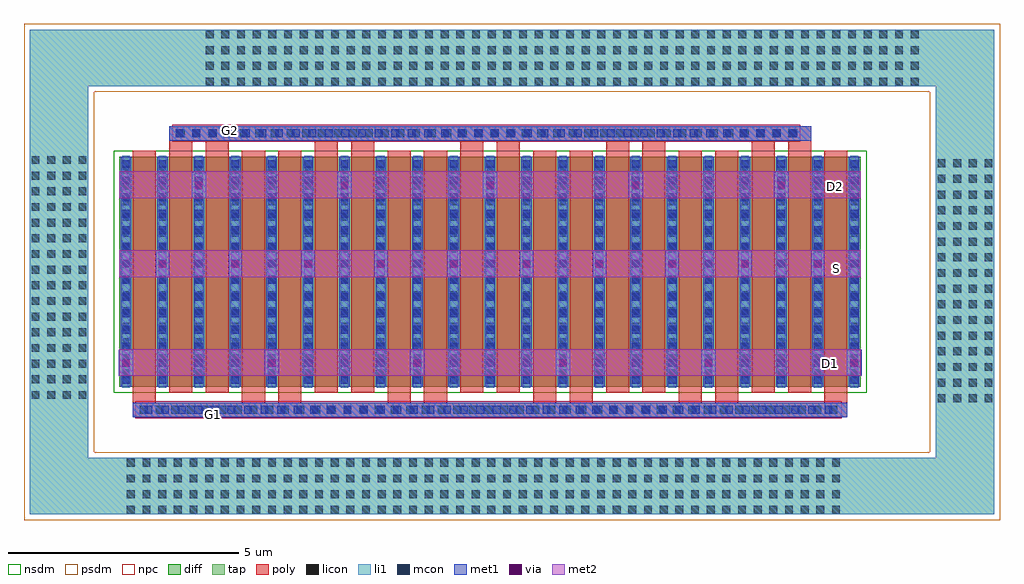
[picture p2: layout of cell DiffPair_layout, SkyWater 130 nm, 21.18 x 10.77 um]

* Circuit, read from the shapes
.subckt DiffPair_layout D1 D2 G1 G2 S
XM1 S G1 D1 VSUBS sky130_fd_pr__nfet_01v8 w=5 l=0.5 m=10
XM2 D2 G2 S VSUBS sky130_fd_pr__nfet_01v8 w=5 l=0.5 m=10
.ends

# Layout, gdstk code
import gdstk
lib = gdstk.Library(unit=1e-6, precision=1e-09)
def R(c, l, rs):  # rectangles x0, y0, x1, y1
    for r in rs: c.add(gdstk.rectangle(r[:2], r[2:], *l))
def A(c, l, x, y, w, h, nx, ny, dx, dy):  # array of equal rectangles
    R(c, l, [(x+i*dx, y+j*dy, x+i*dx+w, y+j*dy+h) for i in range(nx) for j in range(ny)])
diff = (65, 20)
tap = (65, 44)
poly = (66, 20)
licon = (66, 44)
li1 = (67, 20)
mcon = (67, 44)
met1 = (68, 20)
via = (68, 44)
met2 = (69, 20)
nsdm = (93, 44)
psdm = (94, 20)
npc = (95, 20)

sky130_fd_pr__nfet_01v8_ = lib.new_cell('sky130_fd_pr__nfet_01v8_6YBK2C')
R(sky130_fd_pr__nfet_01v8_, diff, [(-0.54,-2.5,0.54,2.5)])
R(sky130_fd_pr__nfet_01v8_, poly, [(-0.25,-2.63,0.25,2.63)])
A(sky130_fd_pr__nfet_01v8_, licon, -0.48, -2.295, 0.17, 0.17, 1, 14, 0, 0.34)
A(sky130_fd_pr__nfet_01v8_, licon, 0.31, -2.295, 0.17, 0.17, 1, 14, 0, 0.34)
R(sky130_fd_pr__nfet_01v8_, li1, [(-0.48,-2.52,-0.31,2.52), (0.31,-2.52,0.48,2.52)])
A(sky130_fd_pr__nfet_01v8_, mcon, -0.48, -2.425, 0.17, 0.17, 1, 14, 0, 0.36)
A(sky130_fd_pr__nfet_01v8_, mcon, 0.31, -2.425, 0.17, 0.17, 1, 14, 0, 0.36)
R(sky130_fd_pr__nfet_01v8_, met1, [(-0.51,-2.5,-0.28,2.5), (0.28,-2.5,0.51,2.5)])
R(sky130_fd_pr__nfet_01v8_, nsdm, [(-0.665,-2.625,0.665,2.625)])

diffpair_layout = lib.new_cell('DiffPair_layout')
R(diffpair_layout, tap, [(-1.945,-2.635,18.985,-1.41), (-1.945,-1.41,-0.675,6.66), (17.715,-1.41,18.985,6.66), (-1.945,6.66,18.985,7.885)])
R(diffpair_layout, poly, [(0.29,-0.53,15.8,-0.21), (0.29,-0.21,0.79,0), (2.66,-0.21,3.16,0), (3.45,-0.21,3.95,0), (5.82,-0.21,6.32,0), (6.61,-0.21,7.11,0), (8.98,-0.21,9.48,0), (9.77,-0.21,10.27,0), (12.14,-0.21,12.64,0), (12.93,-0.21,13.43,0), (15.3,-0.21,15.8,0), (1.08,5.26,1.58,5.47), (1.87,5.26,2.37,5.47), (4.24,5.26,4.74,5.47), (5.03,5.26,5.53,5.47), (7.4,5.26,7.9,5.47), (8.19,5.26,8.69,5.47), (10.56,5.26,11.06,5.47), (11.35,5.26,11.85,5.47), (13.72,5.26,14.22,5.47), (14.51,5.26,15.01,5.47), (1.08,5.47,15.01,5.79)])
A(diffpair_layout, licon, 0.165, -2.62, 0.17, 0.17, 46, 4, 0.34, 0.34)
A(diffpair_layout, licon, 0.445, -0.45, 0.17, 0.17, 45, 1, 0.34, 0)
A(diffpair_layout, licon, 17.755, -0.2, 0.17, 0.17, 4, 16, 0.34, 0.34)
A(diffpair_layout, licon, -1.905, -0.13, 0.17, 0.17, 4, 16, 0.34, 0.34)
A(diffpair_layout, licon, 1.25, 5.55, 0.17, 0.17, 40, 1, 0.34, 0)
A(diffpair_layout, licon, 1.875, 6.675, 0.17, 0.17, 46, 4, 0.34, 0.34)
R(diffpair_layout, li1, [(-1.945,-2.635,18.985,-1.41), (-1.945,-1.41,-0.675,6.66), (17.715,-1.41,18.985,6.66), (0.29,-0.53,15.8,-0.21), (1.08,5.47,15.01,5.79), (-1.945,6.66,18.985,7.885)])
A(diffpair_layout, mcon, 0.545, -0.45, 0.17, 0.17, 42, 1, 0.36, 0)
A(diffpair_layout, mcon, 1.22, 5.55, 0.17, 0.17, 38, 1, 0.36, 0)
A(diffpair_layout, met1, -0.015, 0.37, 0.32, 0.57, 6, 1, 3.16, 0)
A(diffpair_layout, met1, 0.79, 2.515, 0.29, 0.58, 10, 1, 1.58, 0)
A(diffpair_layout, met1, 1.565, 4.23, 0.32, 0.565, 5, 1, 3.16, 0)
R(diffpair_layout, met1, [(0.29,-0.53,15.8,-0.21), (1.08,5.47,15.01,5.79)])
A(diffpair_layout, via, 0.07, 0.575, 0.15, 0.15, 6, 1, 3.16, 0)
A(diffpair_layout, via, 0.86, 2.72, 0.15, 0.15, 10, 1, 1.58, 0)
A(diffpair_layout, via, 1.65, 4.435, 0.15, 0.15, 5, 1, 3.16, 0)
R(diffpair_layout, met2, [(0,0.37,16.09,0.95), (0,2.515,16.09,3.095), (0,4.23,16.09,4.81)])
R(diffpair_layout, psdm, [(-2.07,-2.76,19.11,-1.285), (-2.07,-1.285,-0.55,6.535), (17.59,-1.285,19.11,6.535), (-2.07,6.535,19.11,8.01)])
R(diffpair_layout, npc, [(0.345,-0.55,15.675,-0.18), (1.15,5.45,14.78,5.82)])
diffpair_layout.add(gdstk.Reference(sky130_fd_pr__nfet_01v8_, (0.54,2.63)))
diffpair_layout.add(gdstk.Reference(sky130_fd_pr__nfet_01v8_, (1.33,2.63)))
diffpair_layout.add(gdstk.Reference(sky130_fd_pr__nfet_01v8_, (2.12,2.63)))
diffpair_layout.add(gdstk.Reference(sky130_fd_pr__nfet_01v8_, (2.91,2.63)))
diffpair_layout.add(gdstk.Reference(sky130_fd_pr__nfet_01v8_, (3.7,2.63)))
diffpair_layout.add(gdstk.Reference(sky130_fd_pr__nfet_01v8_, (4.49,2.63)))
diffpair_layout.add(gdstk.Reference(sky130_fd_pr__nfet_01v8_, (5.28,2.63)))
diffpair_layout.add(gdstk.Reference(sky130_fd_pr__nfet_01v8_, (6.07,2.63)))
diffpair_layout.add(gdstk.Reference(sky130_fd_pr__nfet_01v8_, (6.86,2.63)))
diffpair_layout.add(gdstk.Reference(sky130_fd_pr__nfet_01v8_, (7.65,2.63)))
diffpair_layout.add(gdstk.Reference(sky130_fd_pr__nfet_01v8_, (8.44,2.63)))
diffpair_layout.add(gdstk.Reference(sky130_fd_pr__nfet_01v8_, (9.23,2.63)))
diffpair_layout.add(gdstk.Reference(sky130_fd_pr__nfet_01v8_, (10.02,2.63)))
diffpair_layout.add(gdstk.Reference(sky130_fd_pr__nfet_01v8_, (10.81,2.63)))
diffpair_layout.add(gdstk.Reference(sky130_fd_pr__nfet_01v8_, (11.6,2.63)))
diffpair_layout.add(gdstk.Reference(sky130_fd_pr__nfet_01v8_, (12.39,2.63)))
diffpair_layout.add(gdstk.Reference(sky130_fd_pr__nfet_01v8_, (13.18,2.63)))
diffpair_layout.add(gdstk.Reference(sky130_fd_pr__nfet_01v8_, (13.97,2.63)))
diffpair_layout.add(gdstk.Reference(sky130_fd_pr__nfet_01v8_, (14.76,2.63)))
diffpair_layout.add(gdstk.Reference(sky130_fd_pr__nfet_01v8_, (15.55,2.63)))
diffpair_layout.add(gdstk.Label('G1', (2.04,-0.475), layer=68, texttype=16))
diffpair_layout.add(gdstk.Label('G2', (2.41,5.695), layer=68, texttype=16))
diffpair_layout.add(gdstk.Label('D2', (15.53,4.49), layer=69, texttype=16))
diffpair_layout.add(gdstk.Label('S', (15.555,2.71), layer=69, texttype=16))
diffpair_layout.add(gdstk.Label('D1', (15.425,0.64), layer=69, texttype=16))

lib.write_gds('DiffPair_layout.gds')
